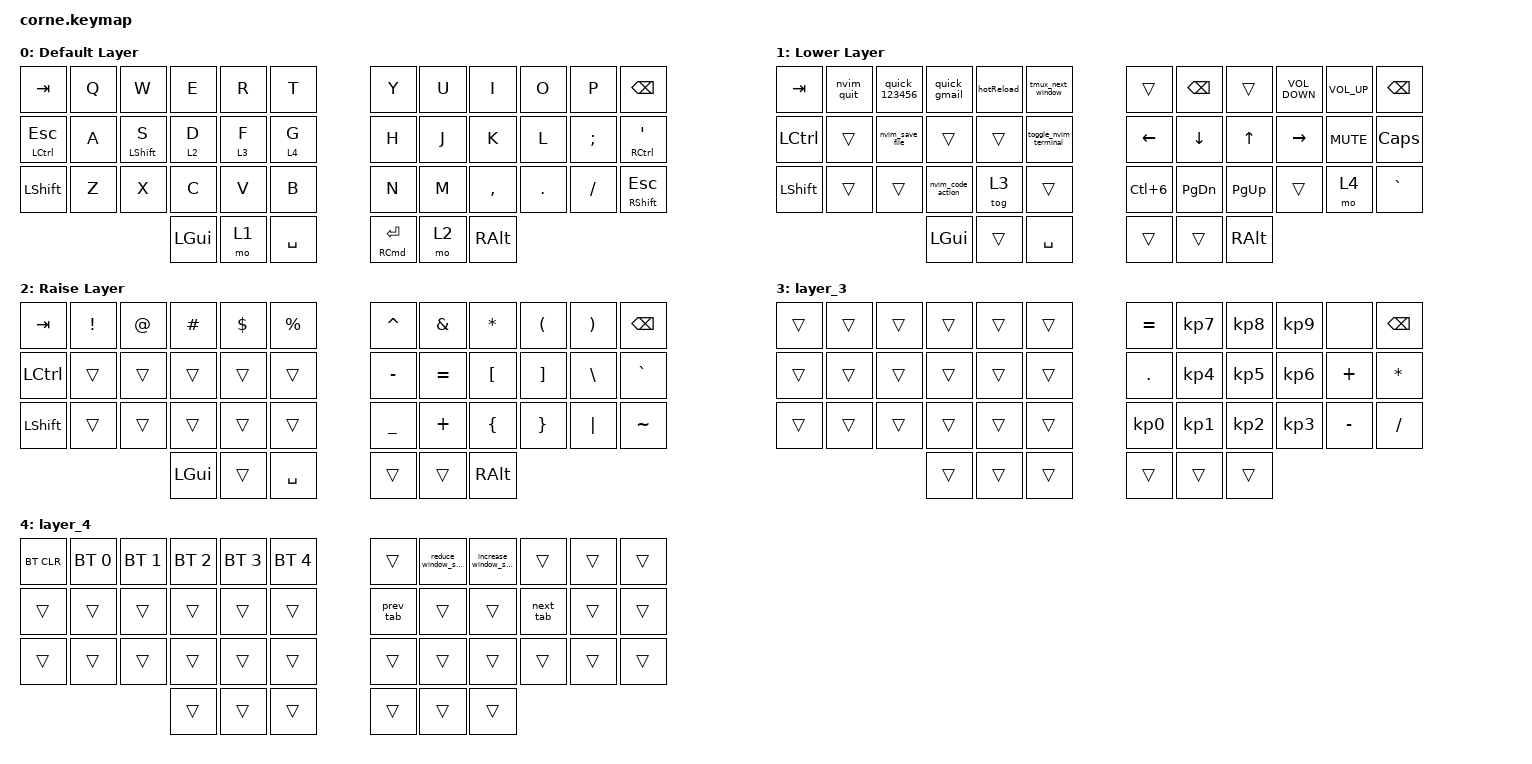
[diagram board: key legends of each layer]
/*
 * Copyright (c) 2020 The ZMK Contributors
 *
 * SPDX-License-Identifier: MIT
 */

#include <behaviors.dtsi>
#include <dt-bindings/zmk/bt.h>
#include <dt-bindings/zmk/keys.h>

/ {
    macros {
        tmux_next_window: tmux_next_window {
            compatible = "zmk,behavior-macro";
            #binding-cells = <0>;
            bindings = <&kp LC(SPACE) &kp N>;
            label = "TMUX_NEXT_WINDOW";
        };

        toggle_nvim_terminal: toggle_nvim_terminal {
            compatible = "zmk,behavior-macro";
            #binding-cells = <0>;
            bindings = <&kp LC(SLASH)>;
            label = "TOGGLE_NVIM_TERMINAL";
        };

        nvim_save_file: nvim_save_file {
            compatible = "zmk,behavior-macro";
            #binding-cells = <0>;
            bindings = <&kp COLON &kp W &kp ENTER>;
            label = "NVIM_SAVE_FILE";
        };

        reduce_window_size: reduce_window_size {
            compatible = "zmk,behavior-macro";
            #binding-cells = <0>;
            bindings = <&kp LS(LG(MINUS))>;
            label = "REDUCE_WINDOW_SIZE";
        };

        increase_window_size: increase_window_size {
            compatible = "zmk,behavior-macro";
            #binding-cells = <0>;
            bindings = <&kp LS(LG(EQUAL))>;
            label = "INCREASE_WINDOW_SIZE";
        };

        nvim_code_action: nvim_code_action {
            compatible = "zmk,behavior-macro";
            #binding-cells = <0>;
            bindings =
                <&kp SPACE>,
                <&macro_wait_time 200>,
                <&kp C>,
                <&macro_wait_time 200>,
                <&kp A>;

            label = "NVIM_CODE_ACTION";
        };

        nvim_quit: nvim_quit {
            compatible = "zmk,behavior-macro";
            #binding-cells = <0>;
            bindings = <&kp COLON &kp Q &kp ENTER>;
            label = "NVIM_QUIT";
        };

        quick_gmail: quick_login {
            compatible = "zmk,behavior-macro";
            #binding-cells = <0>;
            bindings = <&kp AT &kp G &kp M &kp A &kp I &kp L &kp DOT &kp C &kp O &kp M>;
            label = "QUICK_LOGIN";
        };

        quick_123456: quick_123456 {
            compatible = "zmk,behavior-macro";
            #binding-cells = <0>;
            bindings = <&kp N1 &kp N2 &kp N3 &kp N4 &kp N5 &kp N6>;
            label = "QUICK_123456";
        };

        hotReload: hot_reload {
            compatible = "zmk,behavior-macro";
            #binding-cells = <0>;
            bindings =
                <&tmux_next_window>,
                <&macro_wait_time 200>,
                <&kp R>,
                <&macro_wait_time 200>,
                <&tmux_previous_window>;

            label = "HOT_RELOAD";
        };

        tmux_previous_window: tmux_previous_window {
            compatible = "zmk,behavior-macro";
            #binding-cells = <0>;
            bindings = <&kp LC(SPACE) &kp P>;
            label = "TMUX_PREVIOUS_WINDOW";
        };

        hotRestart: hotRestart {
            compatible = "zmk,behavior-macro";
            #binding-cells = <0>;
            bindings =
                <&tmux_next_window>,
                <&macro_wait_time 200>,
                <&kp LS(R)>,
                <&macro_wait_time 200>,
                <&tmux_previous_window>;

            label = "HOTRESTART";
        };

        prev_tab: prev_tab {
            compatible = "zmk,behavior-macro";
            #binding-cells = <0>;
            bindings = <&kp RS(RC(TAB))>;
            label = "PREV_TAB";
        };

        next_tab: next_tab {
            compatible = "zmk,behavior-macro";
            #binding-cells = <0>;
            bindings = <&kp RC(TAB)>;
            label = "NEXT_TAB";
        };
    };

    behaviors {
        hold_or_tap_preferred_hold: hold_or_tap_preferred_hold {
            compatible = "zmk,behavior-hold-tap";
            label = "HOLD_OR_TAP_PREFERRED_HOLD";
            bindings = <&kp>, <&kp>;

            #binding-cells = <2>;
            tapping-term-ms = <200>;
            flavor = "hold-preferred";
            hold-while-undecided;
        };

        TD0: TD0 {
            compatible = "zmk,behavior-tap-dance";
            label = "TD0";
            #binding-cells = <0>;
            bindings = <&kp PERIOD>, <&kp COLON>;
        };

        hold_or_tap_balanced: hold_or_tap_balanced {
            compatible = "zmk,behavior-hold-tap";
            label = "HOLD_OR_TAP_BALANCED";
            bindings = <&kp>, <&kp>;

            #binding-cells = <2>;
            tapping-term-ms = <200>;
            flavor = "balanced";
        };

        layer_or_tap: layer_or_tap {
            compatible = "zmk,behavior-hold-tap";
            label = "LAYER_OR_TAP";
            bindings = <&mo>, <&kp>;

            #binding-cells = <2>;
            tapping-term-ms = <200>;
            flavor = "balanced";
        };
    };

    combos {
        compatible = "zmk,combos";

        colon {
            bindings = <&kp COLON>;
            key-positions = <32 33>;
        };

        dot {
            bindings = <&kp DOT>;
            key-positions = <31 32>;
        };

        comma {
            bindings = <&kp COMMA>;
            key-positions = <19 20>;
        };
    };

    keymap {
        compatible = "zmk,keymap";

        default_layer {
            display-name = "Default Layer";

            // -----------------------------------------------------------------------------------------
            // |  TAB |  Q  |  W  |  E  |  R  |  T  |   |  Y  |  U   |  I  |  O  |  P  | BSPC |
            // | CTRL |  A  |  S  |  D  |  F  |  G  |   |  H  |  J   |  K  |  L  |  ;  |  '   |
            // | SHFT |  Z  |  X  |  C  |  V  |  B  |   |  N  |  M   |  ,  |  .  |  /  | ESC  |
            //                    | GUI | LWR | SPC |   | ENT | RSE  | ALT |

            bindings = <
&kp TAB                                &kp Q  &kp W                               &kp E              &kp R              &kp T                &kp Y                                          &kp U  &kp I      &kp O       &kp P     &kp BSPC
&hold_or_tap_preferred_hold LCTRL ESC  &kp A  &hold_or_tap_balanced LEFT_SHIFT S  &layer_or_tap 2 D  &layer_or_tap 3 F  &layer_or_tap 4 G    &kp H                                          &kp J  &kp K      &kp L       &kp SEMI  &hold_or_tap_balanced RCTRL SQT
&kp LSHFT                              &kp Z  &kp X                               &kp C              &kp V              &kp B                &kp N                                          &kp M  &kp COMMA  &kp PERIOD  &kp FSLH  &hold_or_tap_preferred_hold RIGHT_SHIFT ESC
                                                                                  &kp LGUI           &mo 1              &kp SPACE            &hold_or_tap_preferred_hold RIGHT_COMMAND RET  &mo 2  &kp RALT
            >;
        };

        layer_1 {
            display-name = "Lower Layer";

            // -----------------------------------------------------------------------------------------
            // |  TAB |  1  |  2  |  3  |  4  |  5  |   |  6  |  7  |  8  |  9  |  0  | BSPC |
            // | BTCLR| BT1 | BT2 | BT3 | BT4 | BT5 |   | LFT | DWN |  UP | RGT |     |      |
            // | SHFT |     |     |     |     |     |   |     |     |     |     |     |      |
            //                    | GUI |     | SPC |   | ENT |     | ALT |

            bindings = <
&kp TAB    &nvim_quit  &quick_123456    &quick_gmail       &hotReload  &tmux_next_window        &trans            &kp BACKSPACE  &trans       &kp C_VOLUME_DOWN  &kp C_VOLUME_UP  &kp BSPC
&kp LCTRL  &trans      &nvim_save_file  &trans             &trans      &toggle_nvim_terminal    &kp LEFT          &kp DOWN       &kp UP       &kp RIGHT          &kp K_MUTE       &kp CAPSLOCK
&kp LSHFT  &trans      &trans           &nvim_code_action  &tog 3      &trans                   &kp LC(NUMBER_6)  &kp PAGE_DOWN  &kp PAGE_UP  &trans             &mo 4            &kp GRAVE
                                        &kp LGUI           &trans      &kp SPACE                &trans            &trans         &kp RALT
            >;
        };

        layer_2 {
            display-name = "Raise Layer";

            // -----------------------------------------------------------------------------------------
            // |  TAB |  !  |  @  |  #  |  $  |  %  |   |  ^  |  &  |  *  |  (  |  )  | BSPC |
            // | CTRL |     |     |     |     |     |   |  -  |  =  |  [  |  ]  |  \  |  `   |
            // | SHFT |     |     |     |     |     |   |  _  |  +  |  {  |  }  | "|" |  ~   |
            //                    | GUI |     | SPC |   | ENT |     | ALT |

            bindings = <
&kp TAB    &kp EXCL  &kp AT  &kp HASH  &kp DLLR  &kp PRCNT    &kp CARET  &kp AMPS   &kp ASTRK  &kp LPAR  &kp RPAR  &kp BACKSPACE
&kp LCTRL  &trans    &trans  &trans    &trans    &trans       &kp MINUS  &kp EQUAL  &kp LBKT   &kp RBKT  &kp BSLH  &kp GRAVE
&kp LSHFT  &trans    &trans  &trans    &trans    &trans       &kp UNDER  &kp PLUS   &kp LBRC   &kp RBRC  &kp PIPE  &kp TILDE
                             &kp LGUI  &trans    &kp SPACE    &trans     &trans     &kp RALT
            >;
        };

        layer_3 {
            bindings = <
&trans  &trans  &trans  &trans  &trans  &trans    &kp EQUAL        &kp KP_NUMBER_7  &kp KP_NUMBER_8  &kp KP_NUMBER_9  &none      &kp BACKSPACE
&trans  &trans  &trans  &trans  &trans  &trans    &kp DOT          &kp KP_NUMBER_4  &kp KP_NUMBER_5  &kp KP_NUMBER_6  &kp PLUS   &kp ASTERISK
&trans  &trans  &trans  &trans  &trans  &trans    &kp KP_NUMBER_0  &kp KP_NUMBER_1  &kp KP_NUMBER_2  &kp KP_NUMBER_3  &kp MINUS  &kp SLASH
                        &trans  &trans  &trans    &trans           &trans           &trans
            >;
        };

        layer_4 {
            bindings = <
&bt BT_CLR  &bt BT_SEL 0  &bt BT_SEL 1  &bt BT_SEL 2  &bt BT_SEL 3  &bt BT_SEL 4    &trans     &reduce_window_size  &increase_window_size  &trans     &trans  &trans
&trans      &trans        &trans        &trans        &trans        &trans          &prev_tab  &trans               &trans                 &next_tab  &trans  &trans
&trans      &trans        &trans        &trans        &trans        &trans          &trans     &trans               &trans                 &trans     &trans  &trans
                                        &trans        &trans        &trans          &trans     &trans               &trans
            >;
        };
    };
};
